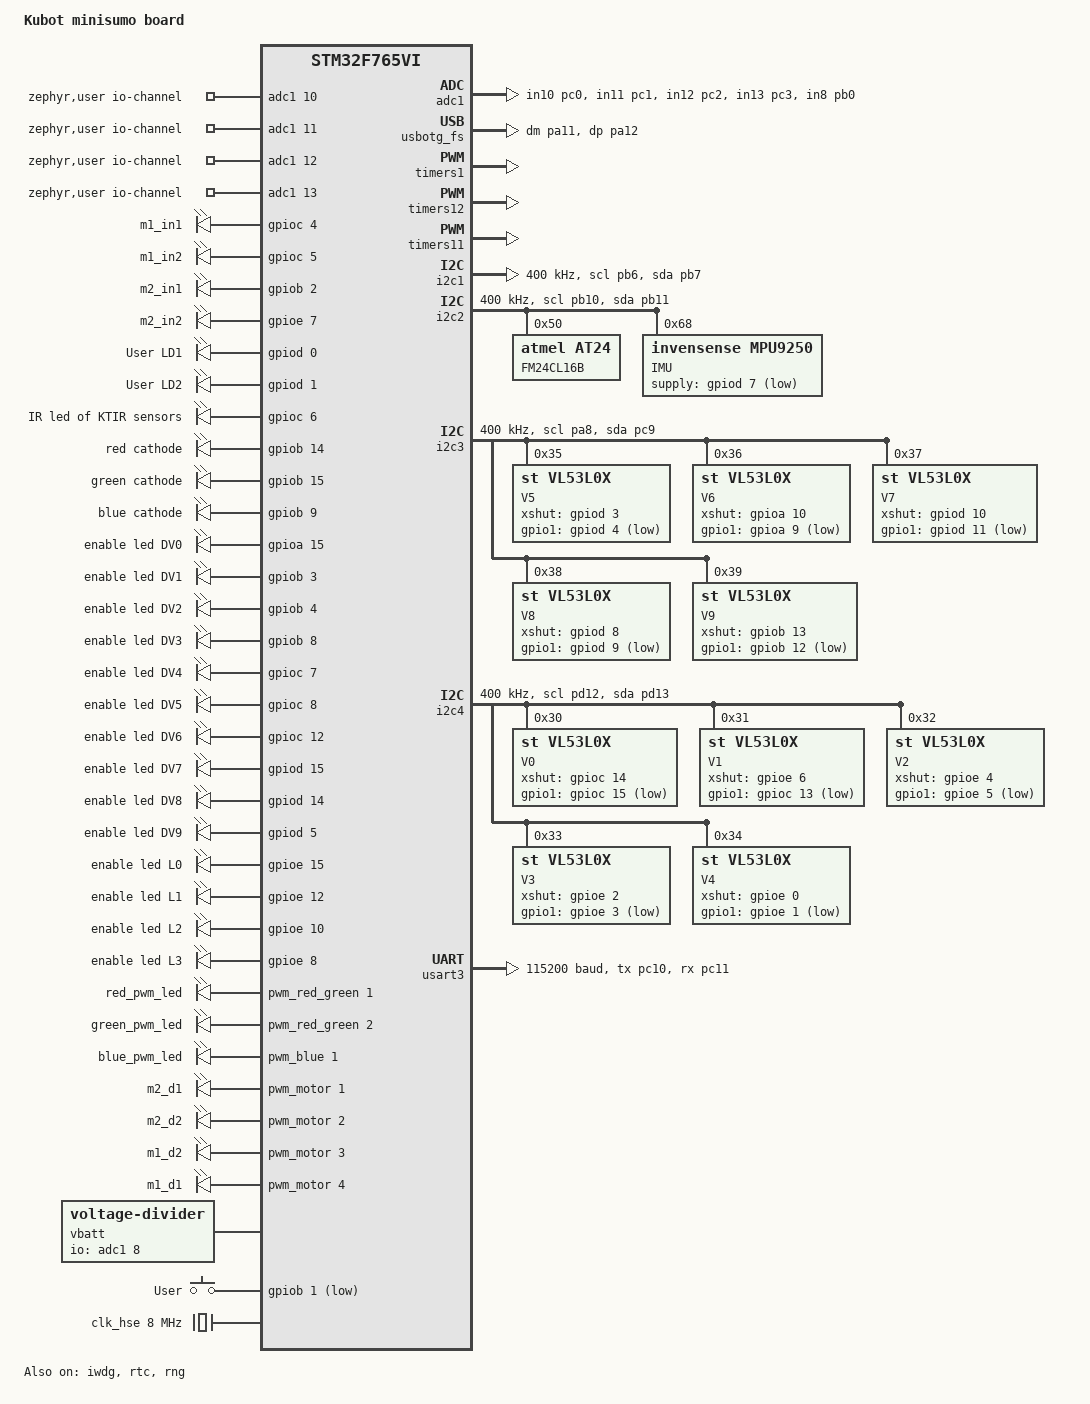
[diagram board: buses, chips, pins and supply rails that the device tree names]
/*
 * Copyright (c) 2019 Roland Ma
 *
 * SPDX-License-Identifier: Apache-2.0
 */

/dts-v1/;

#include <st/f7/stm32f769Xi.dtsi>
#include <st/f7/stm32f769nihx-pinctrl.dtsi>

#include <freq.h>
#include <mem.h>

/ {
	model = "Kubot minisumo board";
	compatible = "kabot,stm32f765vi-kubot";

	chosen {
		// zephyr,console = &cdc_acm_uart0;
		zephyr,console = &usart3;
		zephyr,shell-uart = &cdc_acm_uart1;
		zephyr,sram = &sram0;
		zephyr,flash = &flash0;
		// zephyr,code-partition = &slot0_partition;
		zephyr,dtcm = &dtcm;
	};

	zephyr,user {
		io-channels = <&adc1 10>, <&adc1 11>, <&adc1 12>, <&adc1 13>;
	};

	aliases {
		led0 = &green_led;
		led1 = &blue_led;
		sw0 = &user_button;
		eeprom-0 = &eeprom0;
		pwm-red = &red_pwm_led;
		pwm-green = &green_pwm_led;
		pwm-blue = &blue_pwm_led;
		imu = &mpu9250;
		m1-d1 = &m1_d1;
		m1-d2 = &m1_d2;
		m2-d1 = &m2_d1;
		m2-d2 = &m2_d2;
		m1-in1 = &m1_in1;
		m1-in2 = &m1_in2;
		m2-in1 = &m2_in1;
		m2-in2 = &m2_in2;
	};

	leds {
		compatible = "gpio-leds";

		m1_in1: m1_in1 {
			gpios = <&gpioc 4 GPIO_ACTIVE_HIGH>;
		};
		m1_in2: m1_in2 {
			gpios = <&gpioc 5 GPIO_ACTIVE_HIGH>;
		};
		m2_in1: m2_in1 {
			gpios = <&gpiob 2 GPIO_ACTIVE_HIGH>;
		};
		m2_in2: m2_in2 {
			gpios = <&gpioe 7 GPIO_ACTIVE_HIGH>;
		};
		green_led: led_0 {
			gpios = <&gpiod 0 GPIO_ACTIVE_HIGH>;
			label = "User LD1";
		};
		blue_led: led_1 {
			gpios = <&gpiod 1 GPIO_ACTIVE_HIGH>;
			label = "User LD2";
		};

		ir_led: ir_led {
			gpios = <&gpioc 6 GPIO_ACTIVE_HIGH>;
			label = "IR led of KTIR sensors";
		};

		rgb_k_r: rgb_k_r {
			gpios = <&gpiob 14 GPIO_ACTIVE_HIGH>;
			label = "red cathode";
		};
		rgb_k_g: rgb_k_g {
			gpios = <&gpiob 15 GPIO_ACTIVE_HIGH>;
			label = "green cathode";
		};
		rgb_k_b: rgb_k_b {
			gpios = <&gpiob 9 GPIO_ACTIVE_HIGH>;
			label = "blue cathode";
		};

		rgb_en_0: rgb_en_0 {
			gpios = <&gpioa 15 GPIO_ACTIVE_HIGH>;
			label = "enable led DV0";
		};
		rgb_en_1: rgb_en_1 {
			gpios = <&gpiob 3 GPIO_ACTIVE_HIGH>;
			label = "enable led DV1";
		};
		rgb_en_2: rgb_en_2 {
			gpios = <&gpiob 4 GPIO_ACTIVE_HIGH>;
			label = "enable led DV2";
		};
		rgb_en_3: rgb_en_3 {
			gpios = <&gpiob 8 GPIO_ACTIVE_HIGH>;
			label = "enable led DV3";
		};
		rgb_en_4: rgb_en_4 {
			gpios = <&gpioc 7 GPIO_ACTIVE_HIGH>;
			label = "enable led DV4";
		};
		rgb_en_5: rgb_en_5 {
			gpios = <&gpioc 8 GPIO_ACTIVE_HIGH>;
			label = "enable led DV5";
		};
		rgb_en_6: rgb_en_6 {
			gpios = <&gpioc 12 GPIO_ACTIVE_HIGH>;
			label = "enable led DV6";
		};
		rgb_en_7: rgb_en_7 {
			gpios = <&gpiod 15 GPIO_ACTIVE_HIGH>;
			label = "enable led DV7";
		};
		rgb_en_8: rgb_en_8 {
			gpios = <&gpiod 14 GPIO_ACTIVE_HIGH>;
			label = "enable led DV8";
		};
		rgb_en_9: rgb_en_9 {
			gpios = <&gpiod 5 GPIO_ACTIVE_HIGH>;
			label = "enable led DV9";
		};

		rgb_en_l0: rgb_en_l0 {
			gpios = <&gpioe 15 GPIO_ACTIVE_HIGH>;
			label = "enable led L0";
		};

		rgb_en_l1: rgb_en_l1 {
			gpios = <&gpioe 12 GPIO_ACTIVE_HIGH>;
			label = "enable led L1";
		};

		rgb_en_l2: rgb_en_l2 {
			gpios = <&gpioe 10 GPIO_ACTIVE_HIGH>;
			label = "enable led L2";
		};

		rgb_en_l3: rgb_en_l3 {
			gpios = <&gpioe 8 GPIO_ACTIVE_HIGH>;
			label = "enable led L3";
		};
	};

	pwmleds {
		compatible = "pwm-leds";
		label = "rgb-common";
		red_pwm_led: red_pwm_led {
			pwms = <&pwm_red_green 1 10000 PWM_POLARITY_NORMAL>;
		};
		green_pwm_led: green_pwm_led {
			pwms = <&pwm_red_green 2 10000 PWM_POLARITY_NORMAL>;
		};
		blue_pwm_led: blue_pwm_led {
			pwms = <&pwm_blue 1 10000 PWM_POLARITY_NORMAL>;
		};
	};
	hbridge {
		compatible = "pwm-leds";
		label = "h-bridge-pwm";
		m2_d1: m2_d1 {
			pwms = <&pwm_motor 1 PWM_KHZ(8) PWM_POLARITY_INVERTED>;
		};
		m2_d2: m2_d2 {
			pwms = <&pwm_motor 2 PWM_KHZ(8) PWM_POLARITY_NORMAL>;
		};
		m1_d2: m1_d2{
			pwms = <&pwm_motor 3 PWM_KHZ(8) PWM_POLARITY_NORMAL>;
		};
		m1_d1: m1_d1{
			pwms = <&pwm_motor 4 PWM_KHZ(8) PWM_POLARITY_INVERTED>;
		};

	};

	vbatt {
		compatible = "voltage-divider";
		io-channels = <&adc1 8>;
		output-ohms = <10000>;
		full-ohms = <(910000 + 10000)>;
	};

	gpio_keys {
		compatible = "gpio-keys";
		user_button: button_0 {
			label = "User";
			gpios = <&gpiob 1 GPIO_ACTIVE_LOW>;
		};
	};
};

&adc1 {
	pinctrl-0 = <&adc1_in10_pc0 &adc1_in11_pc1 &adc1_in12_pc2 &adc1_in13_pc3 &adc1_in8_pb0>;
	pinctrl-names = "default";
	status = "okay";
};


&clk_hse {
	clock-frequency = <DT_FREQ_M(8)>; /* STLink 8MHz clock */
	status = "okay";
};



&pll {
	div-m = <4>;
	mul-n = <72>;
	div-p = <2>;
	div-q = <3>;
	clocks = <&clk_hse>;
	status = "okay";
};

&rcc {
	clocks = <&pll>;
	clock-frequency = <DT_FREQ_M(72)>;
	ahb-prescaler = <1>;
	apb1-prescaler = <2>;
	apb2-prescaler = <1>;
};

&usbotg_fs {
	pinctrl-0 = <&usb_otg_fs_dm_pa11 &usb_otg_fs_dp_pa12>;
	pinctrl-names = "default";
	status = "okay";
	

	// cdc_acm_uart0: cdc_acm_uart0 {
	// 	compatible = "zephyr,cdc-acm-uart";
	// 	label = "CDC_ACM_0";
	// };
	cdc_acm_uart1: cdc_acm_uart1 {
		compatible = "zephyr,cdc-acm-uart";
		label = "CDC_ACM_1";
	};
};

&timers1 {
	st,prescaler = <1>;
	status = "okay";

	pwm_motor: pwm {
		compatible = "st,stm32-pwm";
		status = "okay";
		pinctrl-0 = <&tim1_ch1_pe9 &tim1_ch2_pe11 &tim1_ch3_pe13 &tim1_ch4_pe14>;
		pinctrl-names = "default";
	};
};

&timers12 {
	st,prescaler = <100>;
	status = "okay";

	pwm_red_green: pwm {
		status = "okay";
		pinctrl-0 = <&tim12_ch1_pb14 &tim12_ch2_pb15>;
		pinctrl-names = "default";
	};
	// pwm_green: pwm {
	// 	status = "okay";
	// 	pinctrl-0 = <&tim5_ch2_pa1>;
	// 	pinctrl-names = "default";
	// };
};

&timers11 {
	st,prescaler = <10>;
	status = "okay";

	pwm_blue: pwm {
		compatible = "st,stm32-pwm";
		status = "okay";
		pinctrl-0 = <&tim11_ch1_pb9>;
		pinctrl-names = "default";
	};
};



&iwdg {
	status = "okay";
};

&rtc {
	status = "okay";
};

&rng {
	status = "okay";
};

&i2c1 {
	pinctrl-0 = <&i2c1_scl_pb6 &i2c1_sda_pb7>;
	pinctrl-names = "default";
	status = "okay";
	clock-frequency = <I2C_BITRATE_FAST>;
};

&i2c2 {
	pinctrl-0 = <&i2c2_scl_pb10 &i2c2_sda_pb11>;
	pinctrl-names = "default";
	status = "okay";
	clock-frequency = <I2C_BITRATE_FAST>;


	eeprom0: eeprom@50 {
		compatible = "atmel,at24";
		reg = <0x50>;
		status = "okay";
		label = "FM24CL16B";
		size = <2048>;
		pagesize = <8>;
		address-width = <8>;
		timeout = <0>;
	};

	mpu9250:mpu9250@68{
		label = "IMU";
		compatible = "invensense,mpu9250";
		reg = <0x68>;
		status = "okay";
		gyro-sr-div = <1>;
		gyro-dlpf = <3600>;
		gyro-fs = <2000>;
		accel-fs = <16>;
		accel-dlpf = "420";
		supply-gpios = <&gpiod 7 GPIO_ACTIVE_LOW>;
	};
};

&i2c3 {
	pinctrl-0 = <&i2c3_scl_pa8 &i2c3_sda_pc9>;
	pinctrl-names = "default";
	status = "okay";
	clock-frequency = <I2C_BITRATE_FAST>;

	vl53l0x@35 {
		compatible = "st,vl53l0x";
		reg = <0x35>;
		label = "V5";
		xshut-gpios = <&gpiod 3 GPIO_ACTIVE_HIGH>;
		gpio1-gpios = <&gpiod 4 GPIO_ACTIVE_LOW>;
	};
	vl53l0x@36 {
		compatible = "st,vl53l0x";
		reg = <0x36>;
		label = "V6";
		xshut-gpios = <&gpioa 10 GPIO_ACTIVE_HIGH>;
		gpio1-gpios = <&gpioa 9 GPIO_ACTIVE_LOW>;
	};
	vl53l0x@37 {
		compatible = "st,vl53l0x";
		reg = <0x37>;
		label = "V7";
		xshut-gpios = <&gpiod 10 GPIO_ACTIVE_HIGH>;
		gpio1-gpios = <&gpiod 11 GPIO_ACTIVE_LOW>;
	};
	vl53l0x@38 {
		compatible = "st,vl53l0x";
		reg = <0x38>;
		label = "V8";
		xshut-gpios = <&gpiod 8 GPIO_ACTIVE_HIGH>;
		gpio1-gpios = <&gpiod 9 GPIO_ACTIVE_LOW>;
	};
	vl53l0x@39 {
		compatible = "st,vl53l0x";
		reg = <0x39>;
		label = "V9";
		xshut-gpios = <&gpiob 13 GPIO_ACTIVE_HIGH>;
		gpio1-gpios = <&gpiob 12 GPIO_ACTIVE_LOW>;
	};
};

&i2c4 {
	pinctrl-0 = <&i2c4_scl_pd12 &i2c4_sda_pd13>;
	pinctrl-names = "default";
	status = "okay";
	clock-frequency = <I2C_BITRATE_FAST>;

	vl53l0x@30 {
		compatible = "st,vl53l0x";
		reg = <0x30>;
		label = "V0";
		xshut-gpios = <&gpioc 14 GPIO_ACTIVE_HIGH>;
		gpio1-gpios = <&gpioc 15 GPIO_ACTIVE_LOW>;
	};
	vl53l0x@31 {
		compatible = "st,vl53l0x";
		reg = <0x31>;
		label = "V1";
		xshut-gpios = <&gpioe 6 GPIO_ACTIVE_HIGH>;
		gpio1-gpios = <&gpioc 13 GPIO_ACTIVE_LOW>;
	};
	vl53l0x@32 {
		compatible = "st,vl53l0x";
		reg = <0x32>;
		label = "V2";
		xshut-gpios = <&gpioe 4 GPIO_ACTIVE_HIGH>;
		gpio1-gpios = <&gpioe 5 GPIO_ACTIVE_LOW>;
	};
	vl53l0x@33 {
		compatible = "st,vl53l0x";
		reg = <0x33>;
		label = "V3";
		xshut-gpios = <&gpioe 2 GPIO_ACTIVE_HIGH>;
		gpio1-gpios = <&gpioe 3 GPIO_ACTIVE_LOW>;
	};
	vl53l0x@34 {
		compatible = "st,vl53l0x";
		reg = <0x34>;
		label = "V4";
		xshut-gpios = <&gpioe 0 GPIO_ACTIVE_HIGH>;
		gpio1-gpios = <&gpioe 1 GPIO_ACTIVE_LOW>;
	};
};

&usart3 {
	pinctrl-0 = <&usart3_tx_pc10 &usart3_rx_pc11>;
	pinctrl-names = "default";
	current-speed = <115200>;
	status = "okay";
};

// &flash0 {
// 	partitions {
// 		compatible = "fixed-partitions";
// 		#address-cells = <1>;
// 		#size-cells = <1>;

// 		/*
// 		 * The two sectors 0-1 (32+32 kbytes) are reserved for
// 		 * the bootloader.
// 		 */
// 		boot_partition: partition@0 {
// 			label = "mcuboot";
// 			reg = <0x0 0x00010000>;
// 			read-only;
// 		};

// 		/*
// 		 * The flash starting at offset 0x10000 and ending at
// 		 * offset 0x1ffff is reserved for use by the application.
// 		 * This represents sectors 2-3 (32+32 kbytes)
// 		 */
// 		storage_partition: partition@10000 {
// 			label = "storage";
// 			reg = <0x00010000 0x00010000>;
// 		};

// 		/*
// 		 * Sector 4 (128 kbytes) unallocated.
// 		 */

// 		/*
// 		 * Allocated 3 (256k x 3) sectors for image-0. Sectors 5-7.
// 		 */
// 		slot0_partition: partition@40000 {
// 			label = "image-0";
// 			reg = <0x00040000 0x000C0000>;
// 		};

// 		/*
// 		 * Allocated 3 (256k x 3) sectors for image-1. Sectors 8-10.
// 		 */
// 		slot1_partition: partition@100000 {
// 			label = "image-1";
// 			reg = <0x00100000 0x000C0000>;
// 		};

// 		/*
// 		 * Allocated 1 (256k) sector for image-scratch. Sector 11.
// 		 */
// 		scratch_partition: partition@1C0000 {
// 			label = "image-scratch";
// 			reg = <0x001C0000 0x00040000>;
// 		};
// 	};
// };

// &flash0 {
// 	partitions {
// 		compatible = "fixed-partitions";
// 		#address-cells = <1>;
// 		#size-cells = <1>;

// 		/*
// 		 * The two sectors 0-1 (32+32 kbytes) are reserved for
// 		 * the bootloader.
// 		 */
// 		boot_partition: partition@8000000 {
// 			label = "mcuboot";
// 			reg = <0x08000000 DT_SIZE_K(32*2)>;
// 			read-only;
// 		};

// 		/*
// 		 * The flash starting at offset 0x10000 and ending at
// 		 * offset 0x1ffff is reserved for use by the application.
// 		 * This represents sectors 2-3 (32+32 kbytes)
// 		 */
// 		storage_partition: partition@8010000 {
// 			label = "storage";
// 			reg = <0x08010000 DT_SIZE_K(32*2)>;
// 		};

// 		/*
// 		 * Sector 4 (128 kbytes) unallocated.
// 		 */

// 		/*
// 		 * Allocated 3 (256k x 3) sectors for image-0. Sectors 5-7.
// 		 */
// 		slot0_partition: partition@8030000 {
// 			label = "image-0";
// 			reg = <0x08030000 DT_SIZE_K(256*3)>;
// 		};

// 		/*
// 		 * Allocated 3 (256k x 3) sectors for image-1. Sectors 8-10.
// 		 */
// 		slot1_partition: partition@80F0000 {
// 			label = "image-1";
// 			reg = <0x080F0000 DT_SIZE_K(256*3)>;
// 		};

// 		/*
// 		 * Allocated 1 (256k) sector for image-scratch. Sector 11.
// 		 */
// 		scratch_partition: partition@81B0000 {
// 			label = "image-scratch";
// 			reg = <0x081B0000 DT_SIZE_K(256)>;
// 		};
// 	};
// };

&backup_sram {
	status = "okay";
};
